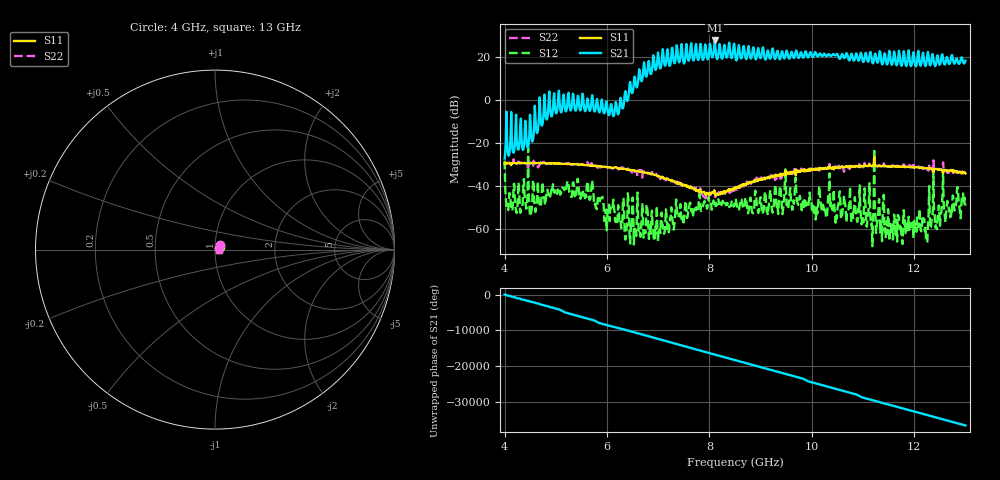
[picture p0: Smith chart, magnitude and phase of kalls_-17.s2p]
! Micran, Research & Production Company
! Date: 2025-04-17 14:09:13
! Frequency	S11	S21	S12	S22
# Hz S dB R 50
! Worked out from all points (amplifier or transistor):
!   764 points, 4 GHz to 13 GHz, reference 50 ohm
!   highest |S21| = 27.5 dB at 8.105 GHz (marker M1)
!   |S21| within 3 dB of that: 8.091427 GHz to 8.117573 GHz (26.15 MHz wide, 0.323 % of centre)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
!   unconditionally stable (mu >= 1): start of sweep to end of sweep
!   at 5.498 GHz: K = 110.87, MAG = -3.3 dB, |S12| = -43.7 dB
!   at 8.506 GHz: K = 13.18, MAG = 20.6 dB, |S12| = -49.0 dB
!   at 13 GHz: K = 18.03, MAG = 18.1 dB, |S12| = -49.2 dB
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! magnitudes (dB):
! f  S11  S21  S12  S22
! 4 GHz  -29.6  -27.3  -28.3  -28.5
! 4.059 GHz  -29.5  -23.7  -50.8  -29.4
! 4.448 GHz  -29.5  -22.2  -43.5  -30.0
! 4.507 GHz  -29.5  -10.3  -53.6  -29.5
! 4.873 GHz  -29.5  3.8  -45.1  -29.7
! 5.51 GHz  -30.1  -0.4  -42.2  -30.2
! 6.218 GHz  -31.8  -6.8  -49.0  -32.0
! 7.008 GHz  -35.4  19.6  -60.2  -35.8
! 8.105 GHz  -42.4  27.5  -49.9  -44.6
! 8.506 GHz  -40.8  20.6  -49.0  -40.5
! 9.485 GHz  -33.0  20.3  -32.3  -34.0
! 10 GHz  -32.5  20.2  -51.1  -32.5
! 10.28 GHz  -31.9  20.3  -54.0  -31.9
! 10.35 GHz  -30.9  20.9  -34.2  -29.8
! 10.48 GHz  -31.7  20.8  -53.9  -31.2
! 11.02 GHz  -30.8  17.8  -49.5  -31.1
! 11.17 GHz  -30.8  18.3  -57.4  -30.9
! 11.23 GHz  -30.8  20.9  -52.1  -30.5
! 11.5 GHz  -31.0  20.3  -55.8  -31.0
! 12.23 GHz  -31.9  16.3  -65.9  -32.2
! 12.55 GHz  -33.1  21.0  -44.6  -33.2
! 13 GHz  -34.2  18.1  -49.2  -34.1
